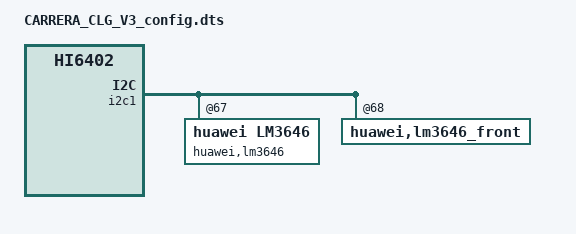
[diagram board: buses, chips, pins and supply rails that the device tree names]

/**
 * Huawei Ltd.
 * PhosphorV660
 */

/dts-v1/;

/include/ "fastboot.dtsi"
/include/ "CARRERA_CLG_V1_config.dtsi"
/include/ "CARRERA_CLG_V3_pin.dtsi"
/include/ "CARRERA_CLG_V3_hi6402_pin.dtsi"
/include/ "CARRERA_CLG_V3_modem_pin.dtsi"
///include/ "CARRERA_CLG_V3_charger.dtsi"
///include/ "CARRERA_CLG_V3_pmic.dtsi"
///include/ "CARRERA_CLG_V3_gpio_logic.dtsi"

/ {
	hisi,boardid = <1 4 9 1 >;
	hisi,boardname = "CARRERA_CLG_V3";

	antenna_fpga{
		compatible = "antenna_fpga";
		antenna_fpga,pre-image-filename = "CARRERA_CLG_V3.bin";
		status = "ok";
	};

	amba {
		i2c1: i2c@FDF0A000 {
			huawei,lm3646@67{
				compatible = "huawei,lm3646";
				huawei,flash-name = "lm3646";
				/* 999 means valid gpio for strobe&torch pin, compat driver */
				/* first number means reset pin, can not be 999 */
				huawei,flash-pin = <72 999 999>;
				huawei,flash-ctrltype = <1>; //i2c control
				pinctrl-0 = <
					&gpio072_pmx_func
					&gpio072_cfg_func
				>;
				pinctrl-1 = <
					&gpio072_pmx_idle
					&gpio072_cfg_idle
				>;
				status = "ok";
			};

			huawei,lm3646_front@68{
				status = "ok";
			};
		};
	};
	huawei,pmu_led {
		status = "disabled";
	};

	/*
		device check : the 0 means that it don't need to check;
			the 1 means that it check at board check and running test;
			the 2 means that it check at running test
	*/
	devcheck: devcheck {
		fflash = <1>;
		status = "ok";
	};
};

